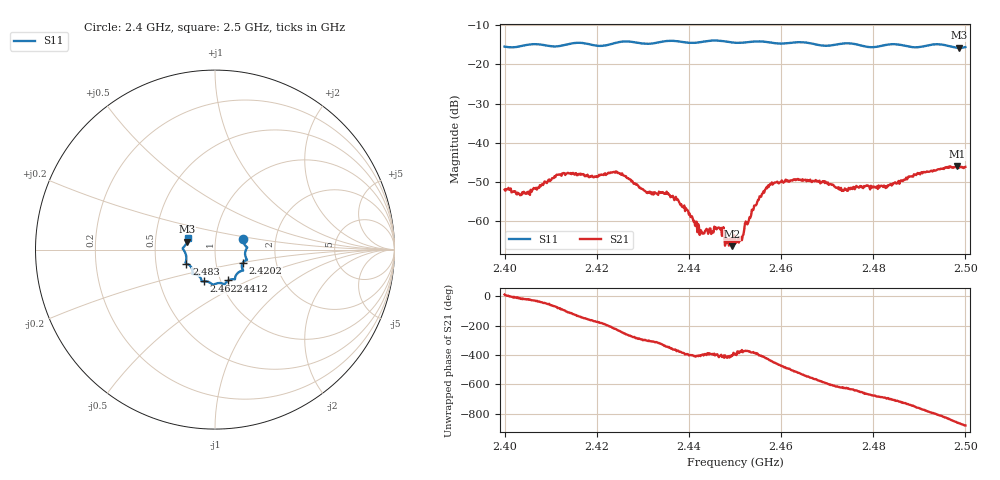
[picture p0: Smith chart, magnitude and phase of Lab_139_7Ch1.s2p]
# Hz S RI R 50
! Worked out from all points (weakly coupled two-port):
!   601 points, 2.4 GHz to 2.5 GHz, reference 50 ohm
!   highest |S21| = -45.97 dB at 2.4982 GHz (marker M1); lowest = -66.3 dB at 2.4493 GHz (marker M2)
!   lowest |S11| = -15.8 dB at 2.4987 GHz (marker M3), VSWR 1.39, Z = 36.4 + j3.29 ohm
!   |S11| at or under -10 dB: start of sweep to end of sweep
!   S12 and S22 are empty: the file has one direction only
!   S11 on the Smith chart (normalised r, x): 2.4 GHz: 1.36, +0.17; 2.4202 GHz: 1.35, -0.20; 2.4412 GHz: 1.09, -0.39; 2.4622 GHz: 0.83, -0.30; 2.483 GHz: 0.72, -0.12; 2.5 GHz: 0.73, +0.09
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2.4e9  0.1564 0.0601  0.00247 0.00056  0 0  0 0
2.405e9  0.1763 0.0157  0.00211 -0.00081  0 0  0 0
2.411667e9  0.1677 -0.0265  0.000813 -0.00384  0 0  0 0
2.416667e9  0.1776 -0.0584  -0.00315 -0.00234  0 0  0 0
2.420167e9  0.1562 -0.072  -0.00374 -0.000468  0 0  0 0
2.424667e9  0.1549 -0.1112  -0.00255 0.00328  0 0  0 0
2.433333e9  0.1128 -0.1523  0.00161 0.00145  0 0  0 0
2.4375e9  0.1063 -0.165  0.00189 -0.0003  0 0  0 0
2.441167e9  0.0751 -0.1716  0.000676 -0.000754  0 0  0 0
2.442833e9  0.0623 -0.1824  0.000556 -0.000426  0 0  0 0
2.4465e9  0.0503 -0.1934  0.000486 -0.000677  0 0  0 0
2.449333e9  0.0333 -0.1867  0.000368 -0.000312  0 0  0 0
2.45e9  0.0268 -0.1862  0.000414 -0.000313  0 0  0 0
2.451333e9  0.0137 -0.1872  0.000608 -0.000163  0 0  0 0
2.457167e9  -0.0196 -0.1902  0.00111 -0.00264  0 0  0 0
2.462167e9  -0.063 -0.1763  -0.0026 -0.00207  0 0  0 0
2.466667e9  -0.0766 -0.167  -0.00304 0.000879  0 0  0 0
2.483e9  -0.1592 -0.0779  0.00248 0.00108  0 0  0 0
2.483333e9  -0.1607 -0.0773  0.00258 0.00122  0 0  0 0
2.498167e9  -0.1584 0.0373  -0.00382 -0.00327  0 0  0 0
2.498667e9  -0.1558 0.044  -0.00407 -0.0028  0 0  0 0
2.5e9  -0.153 0.0626  -0.00462 -0.00171  0 0  0 0
